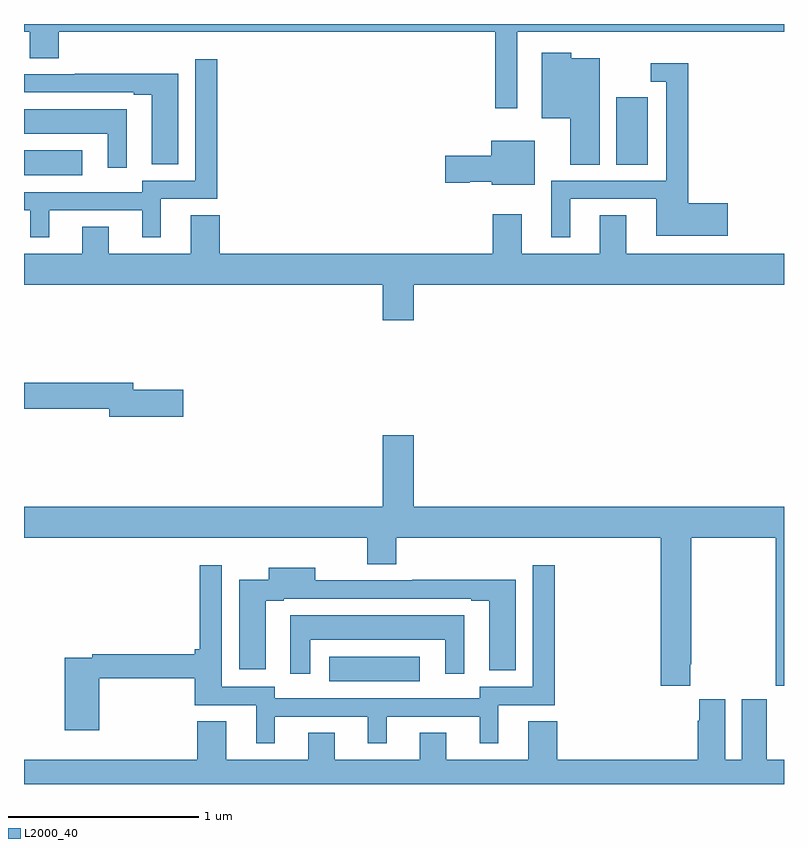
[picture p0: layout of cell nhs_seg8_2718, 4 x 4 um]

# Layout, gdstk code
import gdstk
lib = gdstk.Library(unit=1e-6, precision=1e-09)
def R(c, l, rs):  # rectangles x0, y0, x1, y1
    for r in rs: c.add(gdstk.rectangle(r[:2], r[2:], *l))
def P(c, l, *ps):  # polygons
    for p in ps: c.add(gdstk.Polygon(p, *l))
L2000_40 = (2000, 40)

nhs_seg8_2718 = lib.new_cell('nhs_seg8_2718')
R(nhs_seg8_2718, L2000_40, [(284.607,1086.44,285.082,1086.571), (283,1089.104,283.306,1089.235), (286.118,1089.16,286.282,1089.514)])
P(nhs_seg8_2718, L2000_40, [(283,1089.86),(283.031,1089.86),(283.031,1089.721),(283.184,1089.721),(283.184,1089.86),(285.481,1089.86),(285.481,1089.456),(285.597,1089.456),(285.597,1089.86),(287,1089.86),(287,1089.9),(283,1089.9)],
  [(286.03,1089.721),(285.879,1089.721),(285.879,1089.748),(285.725,1089.748),(285.725,1089.404),(285.875,1089.404),(285.875,1089.16),(286.03,1089.16)],
  [(283.132,1088.919),(283.622,1088.919),(283.622,1088.778),(283.72,1088.778),(283.72,1088.979),(284.018,1088.979),(284.018,1089.715),(283.902,1089.715),(283.902,1089.075),(283.623,1089.075),(283.623,1089.015),(283,1089.015),(283,1088.919),(283.034,1088.919),(283.034,1088.778),(283.132,1088.778)],
  [(285.874,1088.979),(286.328,1088.979),(286.328,1088.786),(286.705,1088.786),(286.705,1088.957),(286.496,1088.957),(286.496,1089.694),(286.299,1089.694),(286.299,1089.597),(286.38,1089.597),(286.38,1089.075),(285.776,1089.075),(285.776,1088.778),(285.874,1088.778)],
  [(283.813,1089.639),(283.267,1089.639),(283.267,1089.636),(283,1089.636),(283,1089.54),(283.577,1089.54),(283.577,1089.528),(283.673,1089.528),(283.673,1089.162),(283.813,1089.162)],
  [(283.54,1089.451),(283,1089.451),(283,1089.323),(283.442,1089.323),(283.442,1089.144),(283.54,1089.144)],
  [(285.688,1089.286),(285.458,1089.286),(285.458,1089.206),(285.216,1089.206),(285.216,1089.064),(285.345,1089.064),(285.345,1089.071),(285.462,1089.071),(285.462,1089.053),(285.688,1089.053)],
  [(285.052,1088.528),(287,1088.528),(287,1088.692),(286.171,1088.692),(286.171,1088.894),(286.031,1088.894),(286.031,1088.692),(285.619,1088.692),(285.619,1088.899),(285.467,1088.899),(285.467,1088.692),(284.03,1088.692),(284.03,1088.894),(283.877,1088.894),(283.877,1088.692),(283.447,1088.692),(283.447,1088.834),(283.307,1088.834),(283.307,1088.692),(283,1088.692),(283,1088.528),(284.888,1088.528),(284.888,1088.34),(285.052,1088.34)],
  [(283.837,1087.976),(283.576,1087.976),(283.576,1088.012),(283,1088.012),(283,1087.876),(283.448,1087.876),(283.448,1087.834),(283.837,1087.834)],
  [(286.507,1086.529),(286.512,1086.529),(286.512,1087.196),(286.957,1087.196),(286.957,1086.417),(287,1086.417),(287,1087.36),(285.052,1087.36),(285.052,1087.735),(284.888,1087.735),(284.888,1087.36),(283,1087.36),(283,1087.196),(284.807,1087.196),(284.807,1087.057),(284.96,1087.057),(284.96,1087.196),(286.352,1087.196),(286.352,1086.417),(286.507,1086.417)],
  [(284.32,1086.255),(284.81,1086.255),(284.81,1086.114),(284.908,1086.114),(284.908,1086.255),(285.398,1086.255),(285.398,1086.114),(285.496,1086.114),(285.496,1086.315),(285.794,1086.315),(285.794,1087.051),(285.678,1087.051),(285.678,1086.411),(285.399,1086.411),(285.399,1086.351),(284.319,1086.351),(284.319,1086.411),(284.04,1086.411),(284.04,1087.051),(283.924,1087.051),(283.924,1086.608),(283.898,1086.608),(283.898,1086.584),(283.36,1086.584),(283.36,1086.564),(283.214,1086.564),(283.214,1086.183),(283.397,1086.183),(283.397,1086.456),(283.898,1086.456),(283.898,1086.315),(284.222,1086.315),(284.222,1086.114),(284.32,1086.114)],
  [(285.589,1086.975),(285.043,1086.975),(285.043,1086.972),(284.533,1086.972),(284.533,1087.039),(284.288,1087.039),(284.288,1086.975),(284.132,1086.975),(284.132,1086.504),(284.272,1086.504),(284.272,1086.864),(284.368,1086.864),(284.368,1086.876),(285.353,1086.876),(285.353,1086.864),(285.449,1086.864),(285.449,1086.498),(285.589,1086.498)],
  [(284.506,1086.659),(285.218,1086.659),(285.218,1086.48),(285.316,1086.48),(285.316,1086.787),(284.402,1086.787),(284.402,1086.48),(284.506,1086.48)],
  [(287,1086.028),(286.909,1086.028),(286.909,1086.346),(286.778,1086.346),(286.778,1086.028),(286.69,1086.028),(286.69,1086.346),(286.553,1086.346),(286.553,1086.233),(286.547,1086.233),(286.547,1086.028),(285.806,1086.028),(285.806,1086.23),(285.653,1086.23),(285.653,1086.028),(285.223,1086.028),(285.223,1086.17),(285.083,1086.17),(285.083,1086.028),(284.635,1086.028),(284.635,1086.17),(284.495,1086.17),(284.495,1086.028),(284.065,1086.028),(284.065,1086.23),(283.913,1086.23),(283.913,1086.028),(283,1086.028),(283,1085.9),(287,1085.9)])

lib.write_gds('nhs_seg8_2718.gds')
